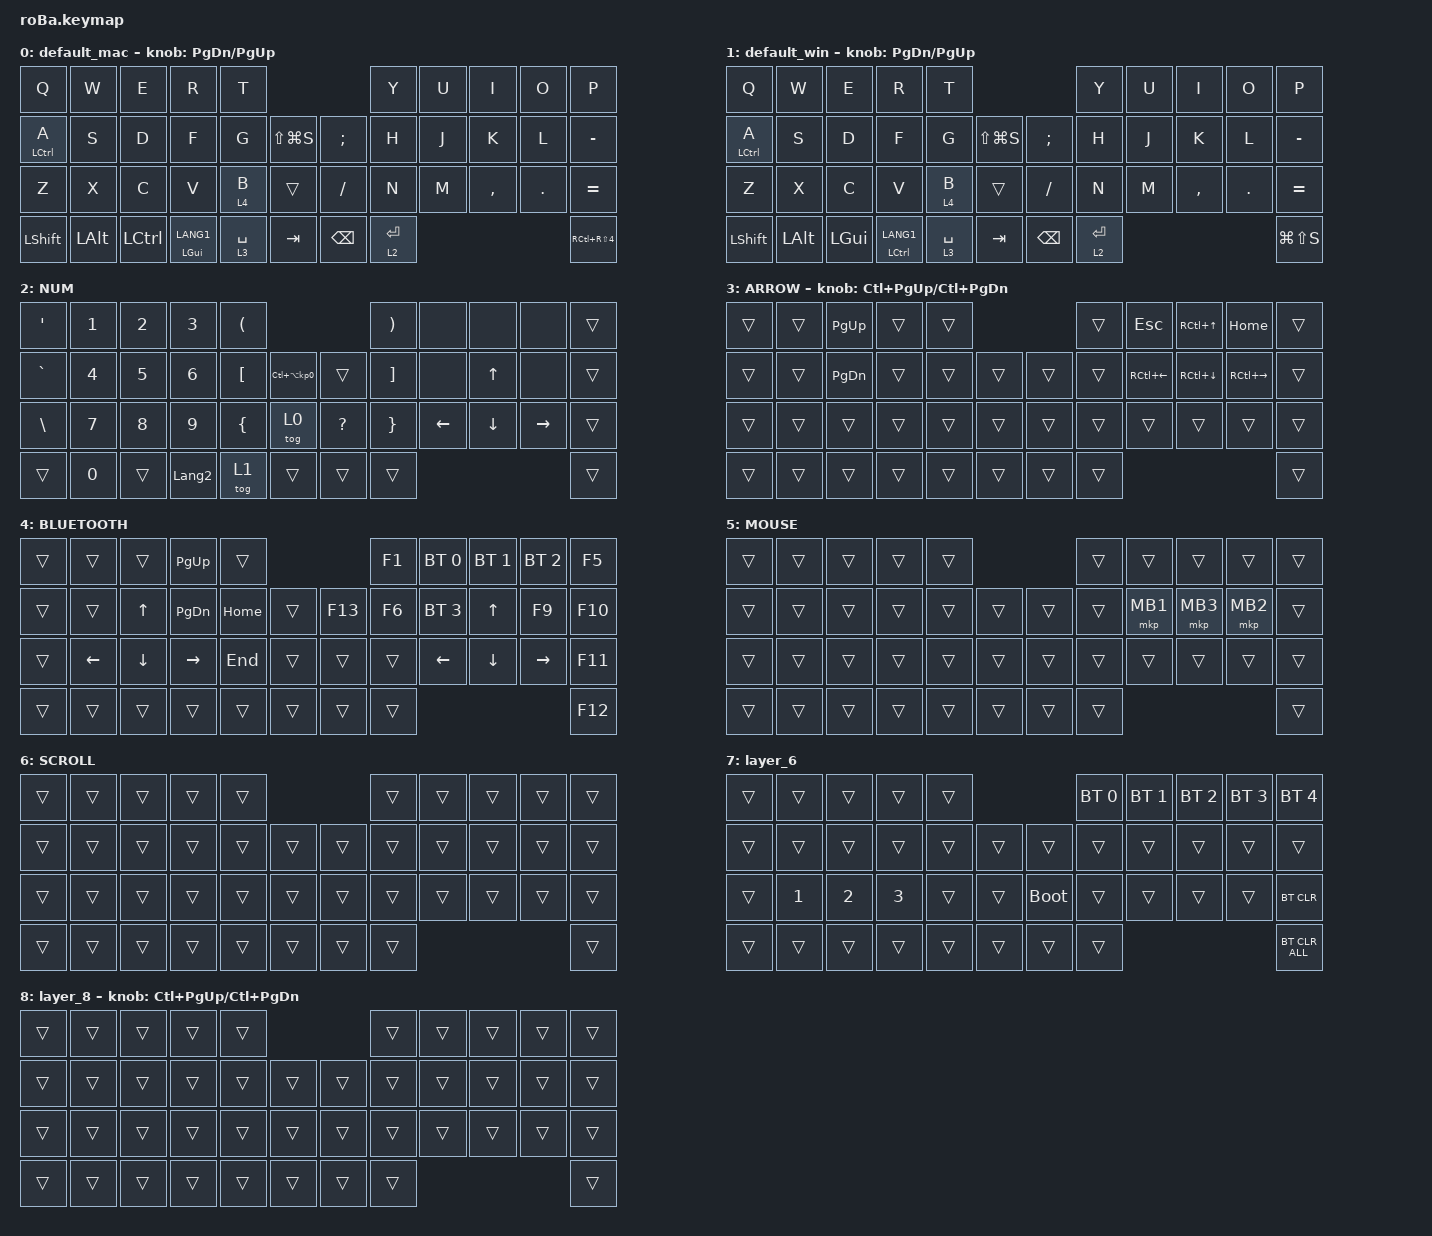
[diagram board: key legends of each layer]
#include <behaviors.dtsi>
#include <dt-bindings/zmk/bt.h>
#include <dt-bindings/zmk/keys.h>
#include <dt-bindings/zmk/pointing.h>

&mt {
    flavor = "balanced";
    quick-tap-ms = <0>;
};

&trackball {
    automouse-layer = <4>;
    scroll-layers = <5>;

    arrows {
        layers = <3>;
        bindings =
            <&kp RIGHT_ARROW>,
            <&kp LEFT_ARROW>,
            <&kp UP_ARROW>,
            <&kp DOWN_ARROW>;

        tick = <10>;
        wait-ms = <5>;
        tap-ms = <5>;
    };
};

/ {
    combos {
        compatible = "zmk,combos";

        tab {
            bindings = <&kp TAB>;
            key-positions = <11 12>;
        };

        shift_tab {
            bindings = <&kp LS(TAB)>;
            key-positions = <12 13>;
        };

        muhennkann {
            bindings = <&to_layer_0 INT_MUHENKAN>;
            key-positions = <11 10>;
        };

        RightClick {
            bindings = <&mkp MB2>;
            key-positions = <19 20>;
        };

        LeftClick {
            bindings = <&mkp MB1>;
            key-positions = <18 19>;
        };
    };

    macros {
        to_layer_0: to_layer_0 {
            compatible = "zmk,behavior-macro-one-param";
            #binding-cells = <1>;
            bindings = <&to 1 &macro_param_1to1 &kp MACRO_PLACEHOLDER>;
            label = "TO_LAYER_0";
        };
    };

    behaviors {
        lt_to_layer_0: lt_to_layer_0 {
            compatible = "zmk,behavior-hold-tap";
            label = "LAYER_TAP_TO_0";
            bindings = <&mo>, <&to_layer_0>;

            #binding-cells = <2>;
            tapping-term-ms = <200>;
        };
    };

    keymap {
        compatible = "zmk,keymap";

        default_mac {
            bindings = <
&kp Q        &kp W         &kp E             &kp R               &kp T                                          &kp Y        &kp U  &kp I      &kp O    &kp P
&mt LCTRL A  &kp S         &kp D             &kp F               &kp G        &kp LS(LG(S))      &kp SEMI       &kp H        &kp J  &kp K      &kp L    &kp MINUS
&kp Z        &kp X         &kp C             &kp V               &lt 4 B      &trans             &kp SLASH      &kp N        &kp M  &kp COMMA  &kp DOT  &kp EQUAL
&kp LSHIFT   &kp LEFT_ALT  &kp LEFT_CONTROL  &mt LEFT_GUI LANG1  &lt 3 SPACE  &kp TAB            &kp BACKSPACE  &lt 2 ENTER                             &kp RC(RS(NUMBER_4))
            >;

            sensor-bindings = <&inc_dec_kp PAGE_DOWN PG_UP>;
        };

        default_win {
            bindings = <
&kp Q        &kp W         &kp E         &kp R                   &kp T                                          &kp Y        &kp U  &kp I      &kp O    &kp P
&mt LCTRL A  &kp S         &kp D         &kp F                   &kp G        &kp LS(LG(S))      &kp SEMI       &kp H        &kp J  &kp K      &kp L    &kp MINUS
&kp Z        &kp X         &kp C         &kp V                   &lt 4 B      &trans             &kp SLASH      &kp N        &kp M  &kp COMMA  &kp DOT  &kp EQUAL
&kp LSHIFT   &kp LEFT_ALT  &kp LEFT_GUI  &mt LEFT_CONTROL LANG1  &lt 3 SPACE  &kp TAB            &kp BACKSPACE  &lt 2 ENTER                             &kp LG(LS(S))
            >;

            sensor-bindings = <&inc_dec_kp PAGE_DOWN PG_UP>;
        };

        NUM {
            bindings = <
&kp SQT        &kp N1  &kp N2  &kp N3          &kp LEFT_PARENTHESIS                                             &kp RIGHT_PARENTHESIS  &none     &none         &none      &trans
&kp GRAVE      &kp N4  &kp N5  &kp N6          &kp LEFT_BRACKET      &kp LC(LA(KP_NUMBER_0))      &trans        &kp RIGHT_BRACKET      &none     &kp UP_ARROW  &none      &trans
&kp BACKSLASH  &kp N7  &kp N8  &kp N9          &kp LEFT_BRACE        &tog 0                       &kp QUESTION  &kp RIGHT_BRACE        &kp LEFT  &kp DOWN      &kp RIGHT  &trans
&trans         &kp N0  &trans  &kp LANGUAGE_2  &tog 1                &trans                       &trans        &trans                                                    &trans
            >;
        };

        ARROW {
            bindings = <
&trans  &trans  &kp PAGE_UP    &trans  &trans                      &trans  &kp ESCAPE    &kp RC(UP_ARROW)    &kp HOME       &trans
&trans  &trans  &kp PAGE_DOWN  &trans  &trans  &trans      &trans  &trans  &kp RC(LEFT)  &kp RC(DOWN_ARROW)  &kp RC(RIGHT)  &trans
&trans  &trans  &trans         &trans  &trans  &trans      &trans  &trans  &trans        &trans              &trans         &trans
&trans  &trans  &trans         &trans  &trans  &trans      &trans  &trans                                                   &trans
            >;

            sensor-bindings = <&inc_dec_kp LC(PAGE_UP) LC(PAGE_DOWN)>;
        };

        BLUETOOTH {
            bindings = <
&trans  &trans          &trans          &kp PAGE_UP      &trans                         &kp F1  &bt BT_SEL 0    &bt BT_SEL 1    &bt BT_SEL 2     &kp F5
&trans  &trans          &kp UP_ARROW    &kp PAGE_DOWN    &kp HOME  &trans      &kp F13  &kp F6  &bt BT_SEL 3    &kp UP_ARROW    &kp F9           &kp F10
&trans  &kp LEFT_ARROW  &kp DOWN_ARROW  &kp RIGHT_ARROW  &kp END   &trans      &trans   &trans  &kp LEFT_ARROW  &kp DOWN_ARROW  &kp RIGHT_ARROW  &kp F11
&trans  &trans          &trans          &trans           &trans    &trans      &trans   &trans                                                   &kp F12
            >;
        };

        MOUSE {
            bindings = <
&trans  &trans  &trans  &trans  &trans                      &trans  &trans    &trans    &trans    &trans
&trans  &trans  &trans  &trans  &trans  &trans      &trans  &trans  &mkp MB1  &mkp MB3  &mkp MB2  &trans
&trans  &trans  &trans  &trans  &trans  &trans      &trans  &trans  &trans    &trans    &trans    &trans
&trans  &trans  &trans  &trans  &trans  &trans      &trans  &trans                                &trans
            >;
        };

        SCROLL {
            bindings = <
&trans  &trans  &trans  &trans  &trans                      &trans  &trans  &trans  &trans  &trans
&trans  &trans  &trans  &trans  &trans  &trans      &trans  &trans  &trans  &trans  &trans  &trans
&trans  &trans  &trans  &trans  &trans  &trans      &trans  &trans  &trans  &trans  &trans  &trans
&trans  &trans  &trans  &trans  &trans  &trans      &trans  &trans                          &trans
            >;
        };

        layer_6 {
            bindings = <
&trans  &trans        &trans        &trans        &trans                           &bt BT_SEL 0  &bt BT_SEL 1  &bt BT_SEL 2  &bt BT_SEL 3  &bt BT_SEL 4
&trans  &trans        &trans        &trans        &trans  &trans      &trans       &trans        &trans        &trans        &trans        &trans
&trans  &kp NUMBER_1  &kp NUMBER_2  &kp NUMBER_3  &trans  &trans      &bootloader  &trans        &trans        &trans        &trans        &bt BT_CLR
&trans  &trans        &trans        &trans        &trans  &trans      &trans       &trans                                                  &bt BT_CLR_ALL
            >;
        };

        layer_8 {
            bindings = <
&trans  &trans  &trans  &trans  &trans                      &trans  &trans  &trans  &trans  &trans
&trans  &trans  &trans  &trans  &trans  &trans      &trans  &trans  &trans  &trans  &trans  &trans
&trans  &trans  &trans  &trans  &trans  &trans      &trans  &trans  &trans  &trans  &trans  &trans
&trans  &trans  &trans  &trans  &trans  &trans      &trans  &trans                          &trans
            >;

            sensor-bindings = <&inc_dec_kp LC(PAGE_UP) LC(PAGE_DOWN)>;
        };
    };
};
